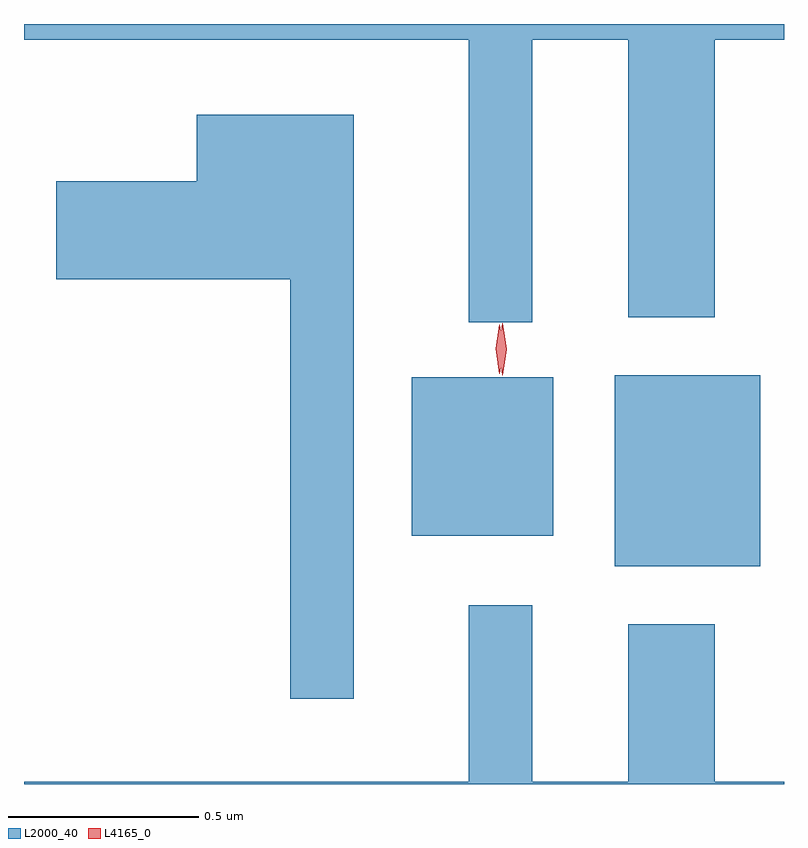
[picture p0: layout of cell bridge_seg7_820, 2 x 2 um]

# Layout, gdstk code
import gdstk
lib = gdstk.Library(unit=1e-6, precision=1e-09)
def R(c, l, rs):  # rectangles x0, y0, x1, y1
    for r in rs: c.add(gdstk.rectangle(r[:2], r[2:], *l))
def P(c, l, *ps):  # polygons
    for p in ps: c.add(gdstk.Polygon(p, *l))
L2000_40 = (2000, 40)
L4165_0 = (4165, 0)

bridge_seg7_820 = lib.new_cell('bridge_seg7_820')
R(bridge_seg7_820, L2000_40, [(378.826,1752.891,379.209,1753.394), (378.291,1752.971,378.664,1753.389)])
P(bridge_seg7_820, L2000_40, [(378.609,1754.276),(378.861,1754.276),(378.861,1753.546),(379.089,1753.546),(379.089,1754.276),(379.271,1754.276),(379.271,1754.318),(377.271,1754.318),(377.271,1754.276),(378.441,1754.276),(378.441,1753.533),(378.609,1753.533)],
  [(378.139,1754.079),(377.726,1754.079),(377.726,1753.904),(377.356,1753.904),(377.356,1753.646),(377.971,1753.646),(377.971,1752.543),(378.139,1752.543)],
  [(379.271,1752.324),(379.089,1752.324),(379.089,1752.739),(378.861,1752.739),(378.861,1752.324),(378.609,1752.324),(378.609,1752.788),(378.441,1752.788),(378.441,1752.324),(377.271,1752.324),(377.271,1752.318),(379.271,1752.318)])
P(bridge_seg7_820, L4165_0, [(378.53,1753.394),(378.521,1753.462),(378.53,1753.53),(378.531,1753.531),(378.531,1753.53),(378.541,1753.462),(378.531,1753.394),(378.531,1753.394)],
  [(378.522,1753.398),(378.513,1753.463),(378.522,1753.527),(378.523,1753.527),(378.523,1753.527),(378.533,1753.463),(378.523,1753.398),(378.523,1753.398)])

lib.write_gds('bridge_seg7_820.gds')
